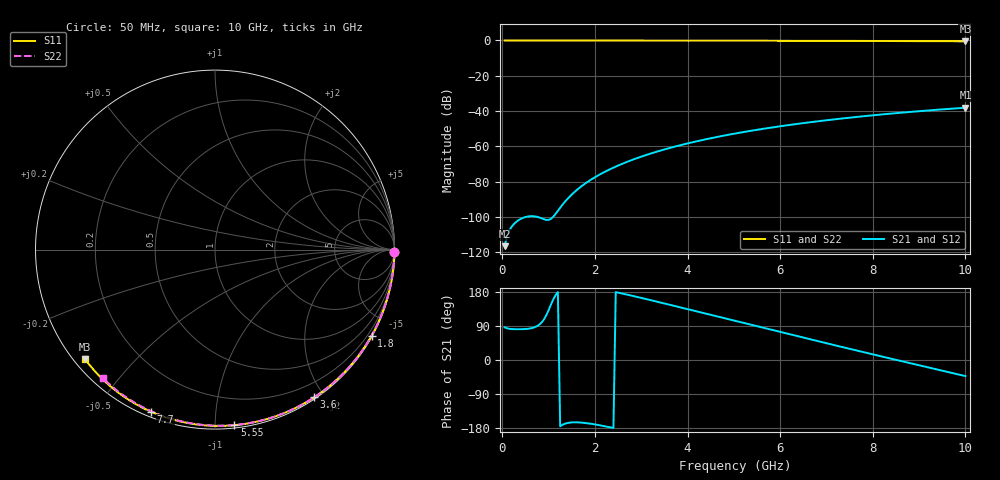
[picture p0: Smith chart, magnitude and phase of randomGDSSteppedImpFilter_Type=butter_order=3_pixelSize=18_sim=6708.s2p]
! freq	dB(S11)	phase(S11)	dB(S12)	phase(S12)
!  dB(S21)	phase(S21)	dB(S22)	phase(S22)
!S-par simulation data
#  GHz  S  DB  R 50
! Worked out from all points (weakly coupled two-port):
!   200 points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, 50 MHz to 10 GHz, reference 50 ohm
!   highest |S21| = -38.11 dB at 10 GHz (marker M1); lowest = -116.5 dB at 50 MHz (marker M2)
!   lowest |S11| = -0.5 dB at 10 GHz (marker M3), VSWR 36.70, Z = 1.54 - j18.2 ohm
!   |S11| at or under -10 dB: nowhere
!   |S22| runs from -0.4 to 0.0 dB; largest |S21 - S12| = 0
!   S11 on the Smith chart (normalised r, x): 50 MHz: open; 1.8 GHz: 0.03, -3.90; 3.6 GHz: 0.02, -1.88; 5.55 GHz: 0.02, -1.12; 7.7 GHz: 0.02, -0.68; 10 GHz: 0.03, -0.36
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0.05  -0.00 -0.8  -116.53 86.4  -116.53 86.4  -0.00 -0.8
0.45  -0.01 -7.3  -100.46 81.4  -100.46 81.4  -0.01 -6.8
0.9  -0.02 -14.5  -101.26 107.2  -101.26 107.2  -0.02 -13.6
1.75  -0.04 -28.0  -81.80 -165.7  -81.80 -165.7  -0.03 -26.1
1.8  -0.04 -28.8  -80.86 -166.4  -80.86 -166.4  -0.03 -26.9
1.85  -0.04 -29.5  -79.96 -167.2  -79.96 -167.2  -0.04 -27.6
2  -0.04 -31.9  -77.49 -170.0  -77.49 -170.0  -0.04 -29.8
2.15  -0.04 -34.2  -75.28 -173.3  -75.28 -173.3  -0.04 -32.0
2.35  -0.05 -37.3  -72.65 -178.2  -72.65 -178.2  -0.04 -34.9
2.55  -0.05 -40.4  -70.31 176.5  -70.31 176.5  -0.05 -37.7
2.95  -0.06 -46.4  -66.27 165.3  -66.27 165.3  -0.06 -43.4
3.4  -0.07 -53.2  -62.49 152.2  -62.49 152.2  -0.07 -49.8
3.6  -0.08 -56.1  -61.01 146.2  -61.01 146.2  -0.07 -52.5
4.3  -0.09 -66.3  -56.51 125.2  -56.51 125.2  -0.09 -62.1
5.05  -0.12 -76.8  -52.61 102.5  -52.61 102.5  -0.11 -72.0
5.55  -0.14 -83.7  -50.40 87.4  -50.40 87.4  -0.13 -78.5
6.1  -0.16 -91.0  -48.24 70.9  -48.24 70.9  -0.15 -85.4
6.7  -0.19 -98.9  -46.15 53.1  -46.15 53.1  -0.18 -92.8
7.7  -0.26 -111.6  -43.19 23.6  -43.19 23.6  -0.24 -104.8
8.35  -0.31 -119.7  -41.54 4.7  -41.54 4.7  -0.29 -112.4
9.2  -0.39 -130.1  -39.65 -19.7  -39.65 -19.7  -0.36 -122.1
10  -0.47 -139.9  -38.11 -42.4  -38.11 -42.4  -0.44 -131.1
